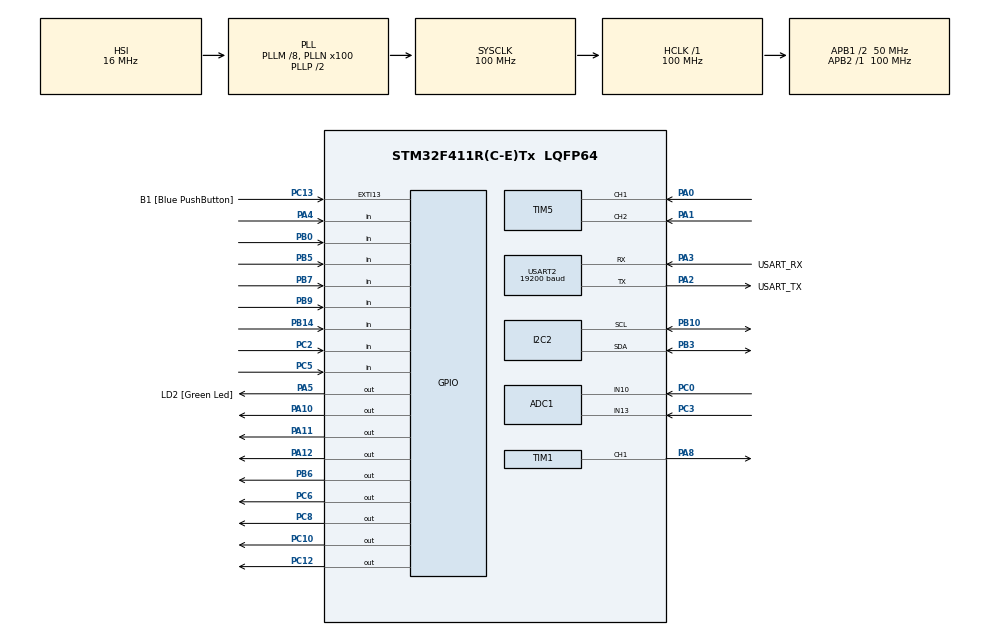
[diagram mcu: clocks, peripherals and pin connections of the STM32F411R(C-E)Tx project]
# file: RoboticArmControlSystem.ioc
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ADC1.Channel-0\#ChannelRegularConversion=ADC_CHANNEL_13
ADC1.Channel-1\#ChannelRegularConversion=ADC_CHANNEL_10
ADC1.ContinuousConvMode=ENABLE
ADC1.DMAContinuousRequests=ENABLE
ADC1.NbrOfConversion=2
ADC1.NbrOfConversionFlag=1
ADC1.Rank-0\#ChannelRegularConversion=1
ADC1.Rank-1\#ChannelRegularConversion=2
ADC1.SamplingTime-0\#ChannelRegularConversion=ADC_SAMPLETIME_56CYCLES
ADC1.SamplingTime-1\#ChannelRegularConversion=ADC_SAMPLETIME_56CYCLES
ADC1.master=1
Dma.ADC1.0.Direction=DMA_PERIPH_TO_MEMORY
Dma.ADC1.0.FIFOMode=DMA_FIFOMODE_DISABLE
Dma.ADC1.0.Instance=DMA2_Stream0
Dma.ADC1.0.MemDataAlignment=DMA_MDATAALIGN_HALFWORD
Dma.ADC1.0.MemInc=DMA_MINC_ENABLE
Dma.ADC1.0.Mode=DMA_CIRCULAR
Dma.ADC1.0.PeriphDataAlignment=DMA_PDATAALIGN_HALFWORD
Dma.ADC1.0.PeriphInc=DMA_PINC_DISABLE
Dma.ADC1.0.Priority=DMA_PRIORITY_LOW
Dma.Request0=ADC1
Dma.Request1=USART2_TX
Dma.USART2_TX.1.Direction=DMA_MEMORY_TO_PERIPH
Dma.USART2_TX.1.FIFOMode=DMA_FIFOMODE_DISABLE
Dma.USART2_TX.1.Instance=DMA1_Stream6
Dma.USART2_TX.1.MemDataAlignment=DMA_MDATAALIGN_BYTE
Dma.USART2_TX.1.MemInc=DMA_MINC_ENABLE
Dma.USART2_TX.1.Mode=DMA_NORMAL
Dma.USART2_TX.1.PeriphDataAlignment=DMA_PDATAALIGN_BYTE
Dma.USART2_TX.1.PeriphInc=DMA_PINC_DISABLE
Dma.USART2_TX.1.Priority=DMA_PRIORITY_LOW
Mcu.Family=STM32F4
Mcu.Name=STM32F411R(C-E)Tx
Mcu.Package=LQFP64
NVIC.DMA1_Stream6_IRQn=true\:0\:0\:false\:false\:true\:false\:true\:true
NVIC.DMA2_Stream0_IRQn=true\:0\:0\:false\:false\:true\:false\:true\:true
NVIC.I2C2_ER_IRQn=true\:0\:0\:false\:false\:true\:true\:true\:true
NVIC.I2C2_EV_IRQn=true\:0\:0\:false\:false\:true\:true\:true\:true
NVIC.PriorityGroup=NVIC_PRIORITYGROUP_0
NVIC.TIM1_TRG_COM_TIM11_IRQn=true\:0\:0\:false\:false\:true\:true\:true\:true
NVIC.TIM2_IRQn=true\:0\:0\:false\:false\:true\:true\:true\:true
NVIC.TIM3_IRQn=true\:0\:0\:false\:false\:true\:true\:true\:true
NVIC.USART2_IRQn=true\:0\:0\:false\:false\:true\:true\:true\:true
PA0-WKUP.GPIO_PuPd=GPIO_PULLUP
PA0-WKUP.Signal=S_TIM5_CH1
PA1.GPIO_PuPd=GPIO_PULLUP
PA1.Signal=S_TIM5_CH2
PA10.Signal=GPIO_Output
PA11.Signal=GPIO_Output
PA12.Signal=GPIO_Output
PA13.GPIO_Label=TMS
PA13.Mode=Serial_Wire
PA13.Signal=SYS_JTMS-SWDIO
PA14.GPIO_Label=TCK
PA14.Mode=Serial_Wire
PA14.Signal=SYS_JTCK-SWCLK
PA2.GPIO_Label=USART_TX
PA2.Mode=Asynchronous
PA2.Signal=USART2_TX
PA3.GPIO_Label=USART_RX
PA3.Mode=Asynchronous
PA3.Signal=USART2_RX
PA4.Signal=GPIO_Input
PA5.GPIO_Label=LD2 [Green Led]
PA5.Signal=GPIO_Output
PA8.Signal=S_TIM1_CH1
PB0.Signal=GPIO_Input
PB10.GPIO_Pu=GPIO_NOPULL
PB10.Mode=I2C
PB10.Signal=I2C2_SCL
PB14.GPIO_PuPd=GPIO_NOPULL
PB14.Signal=GPIO_Input
PB3.GPIO_Pu=GPIO_NOPULL
PB3.Mode=I2C
PB3.Signal=I2C2_SDA
PB5.GPIO_PuPd=GPIO_NOPULL
PB5.Signal=GPIO_Input
PB6.GPIO_ModeDefaultOutputPP=GPIO_MODE_OUTPUT_OD
PB6.GPIO_PuPd=GPIO_NOPULL
PB6.Signal=GPIO_Output
PB7.Signal=GPIO_Input
PB9.GPIO_PuPd=GPIO_NOPULL
PB9.Signal=GPIO_Input
PC0.Signal=ADCx_IN10
PC10.GPIO_ModeDefaultOutputPP=GPIO_MODE_OUTPUT_OD
PC10.GPIO_PuPd=GPIO_NOPULL
PC10.Signal=GPIO_Output
PC12.GPIO_ModeDefaultOutputPP=GPIO_MODE_OUTPUT_OD
PC12.GPIO_PuPd=GPIO_NOPULL
PC12.Signal=GPIO_Output
PC13-ANTI_TAMP.GPIO_Label=B1 [Blue PushButton]
PC13-ANTI_TAMP.GPIO_ModeDefaultEXTI=GPIO_MODE_IT_FALLING
PC13-ANTI_TAMP.Signal=GPXTI13
PC14-OSC32_IN.Mode=LSE-External-Oscillator
PC14-OSC32_IN.Signal=RCC_OSC32_IN
PC15-OSC32_OUT.Mode=LSE-External-Oscillator
PC15-OSC32_OUT.Signal=RCC_OSC32_OUT
PC2.Signal=GPIO_Input
PC3.Signal=ADCx_IN13
PC5.GPIO_PuPd=GPIO_PULLUP
PC5.Signal=GPIO_Input
PC6.Signal=GPIO_Output
PC8.Signal=GPIO_Output
PH0\ -\ OSC_IN.Mode=HSE-External-Clock-Source
PH0\ -\ OSC_IN.Signal=RCC_OSC_IN
PH1\ -\ OSC_OUT.Mode=HSE-External-Clock-Source
PH1\ -\ OSC_OUT.Signal=RCC_OSC_OUT
ProjectManager.HeapSize=0x200
ProjectManager.StackSize=0x400
ProjectManager.TargetToolchain=STM32CubeIDE
RCC.48MHZClocksFreq_Value=50000000
RCC.AHBFreq_Value=100000000
RCC.APB1CLKDivider=RCC_HCLK_DIV2
RCC.APB1Freq_Value=50000000
RCC.APB1TimFreq_Value=100000000
RCC.APB2Freq_Value=100000000
RCC.APB2TimFreq_Value=100000000
RCC.CortexFreq_Value=100000000
RCC.FLatency-AdvancedSettings=FLASH_LATENCY_3
RCC.HCLKFreq_Value=100000000
RCC.HSE_VALUE=8000000
RCC.HSI_VALUE=16000000
RCC.PLLM=8
RCC.PLLN=100
RCC.SYSCLKFreq_VALUE=100000000
RCC.SYSCLKSource=RCC_SYSCLKSOURCE_PLLCLK
RCC.VCOOutputFreq_Value=200000000
SH.ADCx_IN10.0=ADC1_IN10,IN10
SH.ADCx_IN13.0=ADC1_IN13,IN13
SH.S_TIM1_CH1.0=TIM1_CH1,PWM Generation1 CH1
SH.S_TIM5_CH1.0=TIM5_CH1,Encoder_Interface
SH.S_TIM5_CH2.0=TIM5_CH2,Encoder_Interface
TIM1.Channel-PWM\ Generation1\ CH1=TIM_CHANNEL_1
TIM1.Period=999
TIM1.Prescaler=99
TIM11.Channel=TIM_CHANNEL_1
TIM11.OCMode_1=TIM_OCMODE_ACTIVE
TIM11.Period=2005
TIM11.Prescaler=99
TIM11.Pulse=1433
TIM2.Period=9
TIM2.Prescaler=9999
TIM5.EncoderMode=TIM_ENCODERMODE_TI12
USART2.BaudRate=19200
USART2.Parity=PARITY_EVEN
USART2.VirtualMode=VM_ASYNC
USART2.WordLength=WORDLENGTH_9B
VP_TIM11_VS_ClockSourceINT.Mode=Enable_Timer
VP_TIM11_VS_OPM.Mode=OPM_bit
VP_TIM11_VS_no_output1.Mode=Output Compare1 No Output
VP_TIM2_VS_ClockSourceINT.Mode=Internal
VP_TIM3_VS_ClockSourceINT.Mode=Internal
board=NUCLEO-F411RE

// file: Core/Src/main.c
/* USER CODE BEGIN Header */
/**
 ******************************************************************************
 * @file           : main.c
 * @brief          : Main program body
 ******************************************************************************
 * @attention
 *
 * Copyright (c) 2023 STMicroelectronics.
 * All rights reserved.
 *
 * This software is licensed under terms that can be found in the LICENSE file
 * in the root directory of this software component.
 * If no LICENSE file comes with this software, it is provided AS-IS.
 *
 ******************************************************************************
 */
/* USER CODE END Header */
#include "main.h"

/* USER CODE BEGIN Includes */
#include "ModBusRTU.h"
#include <stdlib.h>
#include <math.h>
#include <string.h>

#define endEffector_ADDR 0x15
/* USER CODE END Includes */

ADC_HandleTypeDef hadc1;
DMA_HandleTypeDef hdma_adc1;

I2C_HandleTypeDef hi2c2;

TIM_HandleTypeDef htim1;
TIM_HandleTypeDef htim2;
TIM_HandleTypeDef htim3;
TIM_HandleTypeDef htim5;
TIM_HandleTypeDef htim11;

UART_HandleTypeDef huart2;
DMA_HandleTypeDef hdma_usart2_tx;

/* USER CODE BEGIN PV */
// > BASE SYSTEM -------------------------------------------------------------------------------------------------------
ModbusHandleTypedef hmodbus;
u16u8_t registerFrame[70];
// < BASE SYSTEM -------------------------------------------------------------------------------------------------------

// > Joy Stick -------------------------------------------------------------------------------------------------------
struct PortPin {
	GPIO_TypeDef *PORT;
	uint16_t PIN;
};

struct PortPin joyPin[4] = { { GPIOC, GPIO_PIN_2 }, // Button M
		{ GPIOA, GPIO_PIN_4 }, // Button R / P
		{ GPIOB, GPIO_PIN_0 }, // Button A / O
		{ GPIOB, GPIO_PIN_7 }, // Button L / D
		};

struct _GPIOState {
	GPIO_PinState Current;
	GPIO_PinState Last;
};

struct _GPIOState Button1[4];
typedef union {
	struct {
		uint16_t xAxis;
		uint16_t yAxis;
	} subdata;
} DMA_ADC_BufferType;
DMA_ADC_BufferType buffer[10];

float refXPos = 2000;
float refYPos = 2000;

uint8_t countBottomB = 0;
uint8_t countTopB = 0;
int8_t countRightB = 0;
uint8_t countLeftB = 0;

uint8_t switchAxis = 1;
uint8_t joyLogic = 0;
uint8_t joyLogicLED = 1;
// < Joy Stick -------------------------------------------------------------------------------------------------------

// > PILOT LAMP ------------------------------------------------------------------------------------------------------
struct PortPin pilotLampPin[3] = { { GPIOA, GPIO_PIN_10 },
		{ GPIOA, GPIO_PIN_11 }, { GPIOA, GPIO_PIN_12 }, };
// < PILOT LAMP ------------------------------------------------------------------------------------------------------

// > MOTOR -----------------------------------------------------------------------------------------------------------
float duty = 0;
uint8_t dirAxisY = 1;
uint8_t dirAxisX = 1;

// < MOTOR -----------------------------------------------------------------------------------------------------------

// > ENCODER ---------------------------------------------------------------------------------------------------------
int32_t QEIReadRaw;
int32_t QEIReadModified;
int32_t QEIHome;

// < ENCODER ---------------------------------------------------------------------------------------------------------

// > PID -------------------------------------------------------------------------------------------------------------
struct pidVariables {
	float pTerm;
	float iTerm;
	float dTerm;
	float eIntegral;
};

struct pidVariables positionPID = { 168, 1.84, 0, 0 }; // 60 / 80  ::: 220 / 122  // 10 / 25 ::: 168 / 1.84 ::: 135, 2.5,
struct pidVariables velocityPID = { 0, 0, 0, 0 };
float mmActPos = 0;
float mmTargetPos = 0;
float mmError = 0;
float mmActVel = 0;
float mmActAcc = 0;
float prePos = 0;
float preVel = 0;
float pidVel = 0;

float testVar = 0;
// < PID -------------------------------------------------------------------------------------------------------------

// > Calibrate -------------------------------------------------------------------------------------------------------
uint8_t calibrateTrayInput = 0;
// < Calibrate -------------------------------------------------------------------------------------------------------

// > SENSOR ----------------------------------------------------------------------------------------------------------
uint8_t photoSig[3];
// < SENSOR ----------------------------------------------------------------------------------------------------------

// > TRAJECTORY ------------------------------------------------------------------------------------------------------

typedef struct {
	float x;
	float y;
} Point;

Point objPickPos[9];
Point objPlacePos[9];

typedef struct {
	int16_t pos1;
	int16_t pos2;
	int16_t pos3;
	int16_t pos4;
	int16_t pos5;
	int16_t pos6;
} trayPos;

trayPos trayPickX = { .pos1 = 0, .pos2 = 0, .pos3 = 0 };
trayPos trayPickY = { .pos1 = 0, .pos2 = 0, .pos3 = 0 };

trayPos trayPlaceX = { .pos1 = 0, .pos2 = 0, .pos3 = 0 };
trayPos trayPlaceY = { .pos1 = 0, .pos2 = 0, .pos3 = 0 };

typedef struct {
	float posTraj;
	float velTraj;
	float accTraj;
	uint8_t reachTraj;
} calculationTraj;

float qddm = 2000; // 210*11.205 -> 2117.745 float qddm = 2000; // 210*11.205 -> 2117.745
float qdm = 2100; // 189*11.205 -> 2353.05 float qdm = 2100; // 189*11.205 -> 2353.05

float actualTime = 0.001;

float checkPos = 0;
float checkVel = 0;
float checkAcc = 0;
// < TRAJECTORY ------------------------------------------------------------------------------------------------------

// > HOME STATE ------------------------------------------------------------------------------------------------------
uint8_t myHomeState = 0;
uint8_t startSetHome = 1;
// < HOME STATE ------------------------------------------------------------------------------------------------------

// > TEST START M2 ---------------------------------------------------------------------------------------------------
uint8_t startTraj = 0; // TRACK 18 path (Only Position)
uint8_t startKalman = 0; // Lab Kalman
uint8_t startOnlyPosControl = 0; // Feedback From
uint8_t startCascadeControl = 0; // Feedback From Sensor
uint8_t startJoyStick = 0; // Start JoyStick
// > TEST START M2 ---------------------------------------------------------------------------------------------------

// > POINT MODE ------------------------------------------------------------------------------------------------------
uint8_t startPointModeY = 0;
int32_t initPosY;
// < POINT MODE ------------------------------------------------------------------------------------------------------

// > END EFFECTOR ----------------------------------------------------------------------------------------------------
uint8_t endEffectorWriteFlag = 0;
uint8_t endEffectorReadFlag = 0;
uint8_t endEffectorReadBack[1];
uint8_t selectMode;
uint8_t selectStatus;
uint8_t readStatus[1];

struct endE {
	uint8_t testMode;
	uint8_t emergencyMode;
	uint8_t gripperWork;
	uint8_t gripperPickAndPlace;
	uint8_t reset;
	uint8_t status;
};
struct endE endEffector = { 0, 1, 2, 3, 4, 5 };
uint8_t endEffectorDataScan[2] = { 0, 0 };
uint8_t robotArmStateDataScan[2] = { 0, 0 };
uint8_t endEffectorState = 0;
// < END EFFECTOR ----------------------------------------------------------------------------------------------------

// WRITING ...

uint8_t startRunTray = 0;
uint8_t pathComplete = 0;
uint8_t pickComplete = 0;
uint8_t placeComplete = 0;

uint8_t runTrayModeCase = 0;
uint8_t endEffectorPicking = 0;
uint8_t endEffectorPlacing = 0;

uint8_t testFlag = 0;
uint8_t testMode = 0;
uint8_t testStatus = 0;
uint8_t joyStart = 0;
uint8_t nextPath = 0;

uint8_t passInit = 0;

uint8_t checkGoPick = 0;
uint8_t PIDCase = 0;

uint8_t x[4] = { 0, 0, 0, 0 };
uint8_t x2 = 0;

float finalPIDChecky = 0;
uint8_t myJoyState = 30;

uint8_t goPick = 1;
uint8_t goPlace = 1;

uint8_t endEffectorStatusStep = 0;

uint8_t endEmergency = 0;

float myActPos;
float myPrePos = 0;
float myActVel;
float myPreVel = 0;
float myActAcc;

int16_t checkTarget;

uint8_t endStateCheck = 0;
uint8_t endEffectorStatusControlState = 0;

uint16_t endTime = 0;
uint8_t endTimeStatus = 0;

uint16_t endTime2 = 0;
uint8_t endTimeStatus2 = 0;

uint16_t endTime3 = 0;
uint8_t endTimeStatus3 = 0;

uint8_t endResetFlag = 1;

uint8_t flagControlPI = 1;

uint8_t flag=0;
uint8_t mode;
uint8_t status;

/* USER CODE END PV */

void SystemClock_Config(void);
static void MX_GPIO_Init(void);
static void MX_DMA_Init(void);
static void MX_USART2_UART_Init(void);
static void MX_TIM1_Init(void);
static void MX_TIM5_Init(void);
static void MX_TIM2_Init(void);
static void MX_ADC1_Init(void);
static void MX_TIM3_Init(void);
static void MX_TIM11_Init(void);
static void MX_I2C2_Init(void);
/* USER CODE BEGIN PFP */
void readEncoder();
void setMotor();
void cascadePIDControl();
float positionLoop(float targetPos);
void velocityLoop(float targetVel, float velFromPID);

void buttonInput();
void buttonLogic(uint16_t state);
void photoDetect();
calculationTraj trapezoidalTraj(float initPos, float targetPos);
float kalmanFilter(float y);
void calibrateTrayTest();

void setHome();
void onlyPositionControl(float initPos, float targetPos);
void robotArmState(uint16_t state);

void calibrateTray(trayPos trayX, trayPos trayY, Point *objPos);
// Point rotatePoint(float p1, float p2, float centerX, float centerY, float angle);
Point rotatePoint(int16_t p1, int16_t p2, int16_t centerX, int16_t centerY,
		float radians);
void jogAxisY();
void jogAxisX();

void joyDisplayLED();

void kalmanLap();

void handleEmergency();
void pilotLamp(uint8_t id, uint8_t status);

void endEffectorStatusControl(uint16_t regisFrame);
void endEffectorControl(uint8_t mode, uint8_t status);

void runTrayMode();

void endEffectorPick();
void endEffectorPlace();

void handleJogAxisY(uint8_t jogStateY);

void onlyPositionControlPointMode(float initPos, float targetPos);
/* USER CODE END PFP */

int main(void)
{

  /* MCU Configuration--------------------------------------------------------*/

  /* Reset of all peripherals, Initializes the Flash interface and the Systick. */
  HAL_Init();

  /* Configure the system clock */
  SystemClock_Config();

  /* Initialize all configured peripherals */
  MX_GPIO_Init();
  MX_DMA_Init();
  MX_USART2_UART_Init();
  MX_TIM1_Init();
  MX_TIM5_Init();
  MX_TIM2_Init();
  MX_ADC1_Init();
  MX_TIM3_Init();
  MX_TIM11_Init();
  MX_I2C2_Init();
  /* USER CODE BEGIN 2 */
	HAL_TIM_Encoder_Start(&htim5, TIM_CHANNEL_1 | TIM_CHANNEL_2);

	HAL_TIM_Base_Start(&htim1);
	HAL_TIM_PWM_Start(&htim1, TIM_CHANNEL_1);

	HAL_TIM_Base_Start_IT(&htim2);

	HAL_ADC_Start_DMA(&hadc1, (uint16_t*) buffer, 20);

	hmodbus.huart = &huart2;
	hmodbus.htim = &htim11;
	hmodbus.slaveAddress = 0x15;
	hmodbus.RegisterSize = 70; // 70
	Modbus_init(&hmodbus, registerFrame);

	endEffectorControl(endEffector.reset, 1);
  /* USER CODE END 2 */

  /* Infinite loop */
	while (1) {

    /* USER CODE BEGIN 3 */
		Modbus_Protocal_Worker();
		static uint32_t timestamp = 0;

		if (HAL_GetTick() >= timestamp) {
			timestamp = HAL_GetTick() + 100;

			int16_t sentPos = (int16_t) (mmActPos * 10);
			int16_t sentVel = (int16_t) (mmActVel * 10);
			int16_t sentAcc = (int16_t) (mmActAcc * 10);
			registerFrame[0].U16 = 22881; // WRITE : Heartbeat Protocol
			registerFrame[17].U16 = sentPos; // WRITE : y-axis Actual Position
			registerFrame[18].U16 = sentVel; // WRITE : y-axis Actual Speed
			registerFrame[19].U16 = sentAcc; // WRITE : y-axis Actual Acceleration

			mmActPos = QEIReadModified * (2 * 3.14159 * 11.205 / 8192); // NO THIS FUNCTION WHEN TEST WITH ONLY Y-AXIS

			myActPos = QEIReadModified * (2 * 3.14159 * 11.205 / 8192);
			myActVel = (mmActPos - myPrePos) / 0.1;
			myActAcc = (mmActVel - myPreVel) / 0.1;

			//
			myPrePos = myActPos;
			myPreVel = myActVel;

			//
			handleEmergency();

//			if (runTrayModeCase == 4) {
//				runTrayModeCase = 6;
//			} else if (runTrayModeCase == 1) {
//				runTrayModeCase = 3;
//			}

			if (x[0] && x2) {
				endEffectorPick();

			} else if (x[1] && x2) {
				endEffectorPlace();
			}

			endEffectorDataScan[1] = registerFrame[2].U16;
			if ((endEffectorDataScan[1] != endEffectorDataScan[0]
					|| endStateCheck == 1) && x2 == 0) {
				endEffectorStatusControl(registerFrame[2].U16);
				endEffectorDataScan[0] = endEffectorDataScan[1];

			}

			joyDisplayLED();

			if (joyStart) {

				buttonInput(); // DETECT : Button Input
				buttonLogic(joyLogic);
			}
			//
			if (endTimeStatus) {
				endTime += 1;
			}
			if (endTimeStatus2) {
				endTime2 += 1;
			}
			if (endTimeStatus3) {
				endTime3 += 1;
			}

			if(flag){
				flag=0;
				endEffectorControl(mode, status);
			}

		}

	}
  /* USER CODE END 3 */
}

void SystemClock_Config(void)
{
  RCC_OscInitTypeDef RCC_OscInitStruct = {0};
  RCC_ClkInitTypeDef RCC_ClkInitStruct = {0};

  /** Configure the main internal regulator output voltage
  */
  __HAL_RCC_PWR_CLK_ENABLE();
  __HAL_PWR_VOLTAGESCALING_CONFIG(PWR_REGULATOR_VOLTAGE_SCALE1);

  /** Initializes the RCC Oscillators according to the specified parameters
  * in the RCC_OscInitTypeDef structure.
  */
  RCC_OscInitStruct.OscillatorType = RCC_OSCILLATORTYPE_HSI;
  RCC_OscInitStruct.HSIState = RCC_HSI_ON;
  RCC_OscInitStruct.HSICalibrationValue = RCC_HSICALIBRATION_DEFAULT;
  RCC_OscInitStruct.PLL.PLLState = RCC_PLL_ON;
  RCC_OscInitStruct.PLL.PLLSource = RCC_PLLSOURCE_HSI;
  RCC_OscInitStruct.PLL.PLLM = 8;
  RCC_OscInitStruct.PLL.PLLN = 100;
  RCC_OscInitStruct.PLL.PLLP = RCC_PLLP_DIV2;
  RCC_OscInitStruct.PLL.PLLQ = 4;
  if (HAL_RCC_OscConfig(&RCC_OscInitStruct) != HAL_OK)
  {
    Error_Handler();
  }

  /** Initializes the CPU, AHB and APB buses clocks
  */
  RCC_ClkInitStruct.ClockType = RCC_CLOCKTYPE_HCLK|RCC_CLOCKTYPE_SYSCLK
                              |RCC_CLOCKTYPE_PCLK1|RCC_CLOCKTYPE_PCLK2;
  RCC_ClkInitStruct.SYSCLKSource = RCC_SYSCLKSOURCE_PLLCLK;
  RCC_ClkInitStruct.AHBCLKDivider = RCC_SYSCLK_DIV1;
  RCC_ClkInitStruct.APB1CLKDivider = RCC_HCLK_DIV2;
  RCC_ClkInitStruct.APB2CLKDivider = RCC_HCLK_DIV1;

  if (HAL_RCC_ClockConfig(&RCC_ClkInitStruct, FLASH_LATENCY_3) != HAL_OK)
  {
    Error_Handler();
  }
}

static void MX_ADC1_Init(void)
{

  ADC_ChannelConfTypeDef sConfig = {0};

  /** Configure the global features of the ADC (Clock, Resolution, Data Alignment and number of conversion)
  */
  hadc1.Instance = ADC1;
  hadc1.Init.ClockPrescaler = ADC_CLOCK_SYNC_PCLK_DIV4;
  hadc1.Init.Resolution = ADC_RESOLUTION_12B;
  hadc1.Init.ScanConvMode = ENABLE;
  hadc1.Init.ContinuousConvMode = ENABLE;
  hadc1.Init.DiscontinuousConvMode = DISABLE;
  hadc1.Init.ExternalTrigConvEdge = ADC_EXTERNALTRIGCONVEDGE_NONE;
  hadc1.Init.ExternalTrigConv = ADC_SOFTWARE_START;
  hadc1.Init.DataAlign = ADC_DATAALIGN_RIGHT;
  hadc1.Init.NbrOfConversion = 2;
  hadc1.Init.DMAContinuousRequests = ENABLE;
  hadc1.Init.EOCSelection = ADC_EOC_SINGLE_CONV;
  if (HAL_ADC_Init(&hadc1) != HAL_OK)
  {
    Error_Handler();
  }

  /** Configure for the selected ADC regular channel its corresponding rank in the sequencer and its sample time.
  */
  sConfig.Channel = ADC_CHANNEL_13;
  sConfig.Rank = 1;
  sConfig.SamplingTime = ADC_SAMPLETIME_56CYCLES;
  if (HAL_ADC_ConfigChannel(&hadc1, &sConfig) != HAL_OK)
  {
    Error_Handler();
  }

  /** Configure for the selected ADC regular channel its corresponding rank in the sequencer and its sample time.
  */
  sConfig.Channel = ADC_CHANNEL_10;
  sConfig.Rank = 2;
  if (HAL_ADC_ConfigChannel(&hadc1, &sConfig) != HAL_OK)
  {
    Error_Handler();
  }

}

static void MX_I2C2_Init(void)
{

  hi2c2.Instance = I2C2;
  hi2c2.Init.ClockSpeed = 100000;
  hi2c2.Init.DutyCycle = I2C_DUTYCYCLE_2;
  hi2c2.Init.OwnAddress1 = 0;
  hi2c2.Init.AddressingMode = I2C_ADDRESSINGMODE_7BIT;
  hi2c2.Init.DualAddressMode = I2C_DUALADDRESS_DISABLE;
  hi2c2.Init.OwnAddress2 = 0;
  hi2c2.Init.GeneralCallMode = I2C_GENERALCALL_DISABLE;
  hi2c2.Init.NoStretchMode = I2C_NOSTRETCH_DISABLE;
  if (HAL_I2C_Init(&hi2c2) != HAL_OK)
  {
    Error_Handler();
  }

}

static void MX_TIM1_Init(void)
{

  TIM_MasterConfigTypeDef sMasterConfig = {0};
  TIM_OC_InitTypeDef sConfigOC = {0};
  TIM_BreakDeadTimeConfigTypeDef sBreakDeadTimeConfig = {0};

  htim1.Instance = TIM1;
  htim1.Init.Prescaler = 99;
  htim1.Init.CounterMode = TIM_COUNTERMODE_UP;
  htim1.Init.Period = 999;
  htim1.Init.ClockDivision = TIM_CLOCKDIVISION_DIV1;
  htim1.Init.RepetitionCounter = 0;
  htim1.Init.AutoReloadPreload = TIM_AUTORELOAD_PRELOAD_DISABLE;
  if (HAL_TIM_PWM_Init(&htim1) != HAL_OK)
  {
    Error_Handler();
  }
  sMasterConfig.MasterOutputTrigger = TIM_TRGO_RESET;
  sMasterConfig.MasterSlaveMode = TIM_MASTERSLAVEMODE_DISABLE;
  if (HAL_TIMEx_MasterConfigSynchronization(&htim1, &sMasterConfig) != HAL_OK)
  {
    Error_Handler();
  }
  sConfigOC.OCMode = TIM_OCMODE_PWM1;
  sConfigOC.Pulse = 0;
  sConfigOC.OCPolarity = TIM_OCPOLARITY_HIGH;
  sConfigOC.OCNPolarity = TIM_OCNPOLARITY_HIGH;
  sConfigOC.OCFastMode = TIM_OCFAST_DISABLE;
  sConfigOC.OCIdleState = TIM_OCIDLESTATE_RESET;
  sConfigOC.OCNIdleState = TIM_OCNIDLESTATE_RESET;
  if (HAL_TIM_PWM_ConfigChannel(&htim1, &sConfigOC, TIM_CHANNEL_1) != HAL_OK)
  {
    Error_Handler();
  }
  sBreakDeadTimeConfig.OffStateRunMode = TIM_OSSR_DISABLE;
  sBreakDeadTimeConfig.OffStateIDLEMode = TIM_OSSI_DISABLE;
  sBreakDeadTimeConfig.LockLevel = TIM_LOCKLEVEL_OFF;
  sBreakDeadTimeConfig.DeadTime = 0;
  sBreakDeadTimeConfig.BreakState = TIM_BREAK_DISABLE;
  sBreakDeadTimeConfig.BreakPolarity = TIM_BREAKPOLARITY_HIGH;
  sBreakDeadTimeConfig.AutomaticOutput = TIM_AUTOMATICOUTPUT_DISABLE;
  if (HAL_TIMEx_ConfigBreakDeadTime(&htim1, &sBreakDeadTimeConfig) != HAL_OK)
  {
    Error_Handler();
  }
  HAL_TIM_MspPostInit(&htim1);

}

static void MX_TIM2_Init(void)
{

  TIM_ClockConfigTypeDef sClockSourceConfig = {0};
  TIM_MasterConfigTypeDef sMasterConfig = {0};

  htim2.Instance = TIM2;
  htim2.Init.Prescaler = 9999;
  htim2.Init.CounterMode = TIM_COUNTERMODE_UP;
  htim2.Init.Period = 9;
  htim2.Init.ClockDivision = TIM_CLOCKDIVISION_DIV1;
  htim2.Init.AutoReloadPreload = TIM_AUTORELOAD_PRELOAD_DISABLE;
  if (HAL_TIM_Base_Init(&htim2) != HAL_OK)
  {
    Error_Handler();
  }
  sClockSourceConfig.ClockSource = TIM_CLOCKSOURCE_INTERNAL;
  if (HAL_TIM_ConfigClockSource(&htim2, &sClockSourceConfig) != HAL_OK)
  {
    Error_Handler();
  }
  sMasterConfig.MasterOutputTrigger = TIM_TRGO_RESET;
  sMasterConfig.MasterSlaveMode = TIM_MASTERSLAVEMODE_DISABLE;
  if (HAL_TIMEx_MasterConfigSynchronization(&htim2, &sMasterConfig) != HAL_OK)
  {
    Error_Handler();
  }

}

static void MX_TIM3_Init(void)
{

  TIM_ClockConfigTypeDef sClockSourceConfig = {0};
  TIM_MasterConfigTypeDef sMasterConfig = {0};

  htim3.Instance = TIM3;
  htim3.Init.Prescaler = 0;
  htim3.Init.CounterMode = TIM_COUNTERMODE_UP;
  htim3.Init.Period = 65535;
  htim3.Init.ClockDivision = TIM_CLOCKDIVISION_DIV1;
  htim3.Init.AutoReloadPreload = TIM_AUTORELOAD_PRELOAD_DISABLE;
  if (HAL_TIM_Base_Init(&htim3) != HAL_OK)
  {
    Error_Handler();
  }
  sClockSourceConfig.ClockSource = TIM_CLOCKSOURCE_INTERNAL;
  if (HAL_TIM_ConfigClockSource(&htim3, &sClockSourceConfig) != HAL_OK)
  {
    Error_Handler();
  }
  sMasterConfig.MasterOutputTrigger = TIM_TRGO_RESET;
  sMasterConfig.MasterSlaveMode = TIM_MASTERSLAVEMODE_DISABLE;
  if (HAL_TIMEx_MasterConfigSynchronization(&htim3, &sMasterConfig) != HAL_OK)
  {
    Error_Handler();
  }

}

static void MX_TIM5_Init(void)
{

  TIM_Encoder_InitTypeDef sConfig = {0};
  TIM_MasterConfigTypeDef sMasterConfig = {0};

  htim5.Instance = TIM5;
  htim5.Init.Prescaler = 0;
  htim5.Init.CounterMode = TIM_COUNTERMODE_UP;
  htim5.Init.Period = 4294967295;
  htim5.Init.ClockDivision = TIM_CLOCKDIVISION_DIV1;
  htim5.Init.AutoReloadPreload = TIM_AUTORELOAD_PRELOAD_DISABLE;
  sConfig.EncoderMode = TIM_ENCODERMODE_TI12;
  sConfig.IC1Polarity = TIM_ICPOLARITY_RISING;
  sConfig.IC1Selection = TIM_ICSELECTION_DIRECTTI;
  sConfig.IC1Prescaler = TIM_ICPSC_DIV1;
  sConfig.IC1Filter = 0;
  sConfig.IC2Polarity = TIM_ICPOLARITY_RISING;
  sConfig.IC2Selection = TIM_ICSELECTION_DIRECTTI;
  sConfig.IC2Prescaler = TIM_ICPSC_DIV1;
  sConfig.IC2Filter = 0;
  if (HAL_TIM_Encoder_Init(&htim5, &sConfig) != HAL_OK)
  {
    Error_Handler();
  }
  sMasterConfig.MasterOutputTrigger = TIM_TRGO_RESET;
  sMasterConfig.MasterSlaveMode = TIM_MASTERSLAVEMODE_DISABLE;
  if (HAL_TIMEx_MasterConfigSynchronization(&htim5, &sMasterConfig) != HAL_OK)
  {
    Error_Handler();
  }

}

static void MX_TIM11_Init(void)
{

  TIM_OC_InitTypeDef sConfigOC = {0};

  htim11.Instance = TIM11;
  htim11.Init.Prescaler = 99;
  htim11.Init.CounterMode = TIM_COUNTERMODE_UP;
  htim11.Init.Period = 2005;
  htim11.Init.ClockDivision = TIM_CLOCKDIVISION_DIV1;
  htim11.Init.AutoReloadPreload = TIM_AUTORELOAD_PRELOAD_DISABLE;
  if (HAL_TIM_Base_Init(&htim11) != HAL_OK)
  {
    Error_Handler();
  }
  if (HAL_TIM_OC_Init(&htim11) != HAL_OK)
  {
    Error_Handler();
  }
  if (HAL_TIM_OnePulse_Init(&htim11, TIM_OPMODE_SINGLE) != HAL_OK)
  {
    Error_Handler();
  }
  sConfigOC.OCMode = TIM_OCMODE_ACTIVE;
  sConfigOC.Pulse = 1433;
  sConfigOC.OCPolarity = TIM_OCPOLARITY_HIGH;
  sConfigOC.OCFastMode = TIM_OCFAST_DISABLE;
  if (HAL_TIM_OC_ConfigChannel(&htim11, &sConfigOC, TIM_CHANNEL_1) != HAL_OK)
  {
    Error_Handler();
  }

}

static void MX_USART2_UART_Init(void)
{

  huart2.Instance = USART2;
  huart2.Init.BaudRate = 19200;
  huart2.Init.WordLength = UART_WORDLENGTH_9B;
  huart2.Init.StopBits = UART_STOPBITS_1;
  huart2.Init.Parity = UART_PARITY_EVEN;
  huart2.Init.Mode = UART_MODE_TX_RX;
  huart2.Init.HwFlowCtl = UART_HWCONTROL_NONE;
  huart2.Init.OverSampling = UART_OVERSAMPLING_16;
  if (HAL_UART_Init(&huart2) != HAL_OK)
  {
    Error_Handler();
  }

}

static void MX_DMA_Init(void)
{

  /* DMA controller clock enable */
  __HAL_RCC_DMA2_CLK_ENABLE();
  __HAL_RCC_DMA1_CLK_ENABLE();

  /* DMA interrupt init */
  /* DMA1_Stream6_IRQn interrupt configuration */
  HAL_NVIC_SetPriority(DMA1_Stream6_IRQn, 0, 0);
  HAL_NVIC_EnableIRQ(DMA1_Stream6_IRQn);
  /* DMA2_Stream0_IRQn interrupt configuration */
  HAL_NVIC_SetPriority(DMA2_Stream0_IRQn, 0, 0);
  HAL_NVIC_EnableIRQ(DMA2_Stream0_IRQn);

}

static void MX_GPIO_Init(void)
{
  GPIO_InitTypeDef GPIO_InitStruct = {0};

  /* GPIO Ports Clock Enable */
  __HAL_RCC_GPIOC_CLK_ENABLE();
  __HAL_RCC_GPIOH_CLK_ENABLE();
  __HAL_RCC_GPIOA_CLK_ENABLE();
  __HAL_RCC_GPIOB_CLK_ENABLE();

  /*Configure GPIO pin Output Level */
  HAL_GPIO_WritePin(GPIOA, LD2_Pin|GPIO_PIN_10|GPIO_PIN_11|GPIO_PIN_12, GPIO_PIN_RESET);

  /*Configure GPIO pin Output Level */
  HAL_GPIO_WritePin(GPIOC, GPIO_PIN_6|GPIO_PIN_8|GPIO_PIN_10|GPIO_PIN_12, GPIO_PIN_RESET);

  /*Configure GPIO pin Output Level */
  HAL_GPIO_WritePin(GPIOB, GPIO_PIN_6, GPIO_PIN_RESET);

  /*Configure GPIO pin : B1_Pin */
  GPIO_InitStruct.Pin = B1_Pin;
  GPIO_InitStruct.Mode = GPIO_MODE_IT_FALLING;
  GPIO_InitStruct.Pull = GPIO_NOPULL;
  HAL_GPIO_Init(B1_GPIO_Port, &GPIO_InitStruct);

  /*Configure GPIO pin : PC2 */
  GPIO_InitStruct.Pin = GPIO_PIN_2;
  GPIO_InitStruct.Mode = GPIO_MODE_INPUT;
  GPIO_InitStruct.Pull = GPIO_NOPULL;
  HAL_GPIO_Init(GPIOC, &GPIO_InitStruct);

  /*Configure GPIO pin : PA4 */
  GPIO_InitStruct.Pin = GPIO_PIN_4;
  GPIO_InitStruct.Mode = GPIO_MODE_INPUT;
  GPIO_InitStruct.Pull = GPIO_NOPULL;
  HAL_GPIO_Init(GPIOA, &GPIO_InitStruct);

  /*Configure GPIO pins : LD2_Pin PA10 PA11 PA12 */
  GPIO_InitStruct.Pin = LD2_Pin|GPIO_PIN_10|GPIO_PIN_11|GPIO_PIN_12;
  GPIO_InitStruct.Mode = GPIO_MODE_OUTPUT_PP;
  GPIO_InitStruct.Pull = GPIO_NOPULL;
  GPIO_InitStruct.Speed = GPIO_SPEED_FREQ_LOW;
  HAL_GPIO_Init(GPIOA, &GPIO_InitStruct);

  /*Configure GPIO pin : PC5 */
  GPIO_InitStruct.Pin = GPIO_PIN_5;
  GPIO_InitStruct.Mode = GPIO_MODE_INPUT;
  GPIO_InitStruct.Pull = GPIO_PULLUP;
  HAL_GPIO_Init(GPIOC, &GPIO_InitStruct);

  /*Configure GPIO pins : PB0 PB14 PB5 PB7
                           PB9 */
  GPIO_InitStruct.Pin = GPIO_PIN_0|GPIO_PIN_14|GPIO_PIN_5|GPIO_PIN_7
                          |GPIO_PIN_9;
  GPIO_InitStruct.Mode = GPIO_MODE_INPUT;
  GPIO_InitStruct.Pull = GPIO_NOPULL;
  HAL_GPIO_Init(GPIOB, &GPIO_InitStruct);

  /*Configure GPIO pins : PC6 PC8 */
  GPIO_InitStruct.Pin = GPIO_PIN_6|GPIO_PIN_8;
  GPIO_InitStruct.Mode = GPIO_MODE_OUTPUT_PP;
  GPIO_InitStruct.Pull = GPIO_NOPULL;
  GPIO_InitStruct.Speed = GPIO_SPEED_FREQ_LOW;
  HAL_GPIO_Init(GPIOC, &GPIO_InitStruct);

  /*Configure GPIO pins : PC10 PC12 */
  GPIO_InitStruct.Pin = GPIO_PIN_10|GPIO_PIN_12;
  GPIO_InitStruct.Mode = GPIO_MODE_OUTPUT_OD;
  GPIO_InitStruct.Pull = GPIO_NOPULL;
  GPIO_InitStruct.Speed = GPIO_SPEED_FREQ_LOW;
  HAL_GPIO_Init(GPIOC, &GPIO_InitStruct);

  /*Configure GPIO pin : PB6 */
  GPIO_InitStruct.Pin = GPIO_PIN_6;
  GPIO_InitStruct.Mode = GPIO_MODE_OUTPUT_OD;
  GPIO_InitStruct.Pull = GPIO_NOPULL;
  GPIO_InitStruct.Speed = GPIO_SPEED_FREQ_LOW;
  HAL_GPIO_Init(GPIOB, &GPIO_InitStruct);

}

/* USER CODE BEGIN 4 */
void HAL_TIM_PeriodElapsedCallback(TIM_HandleTypeDef *htim) {
	if (htim == &htim2 && x2 == 0) //
			{
		photoDetect();
		robotArmStateDataScan[1] = registerFrame[1].U16;
		if (robotArmStateDataScan[1] != robotArmStateDataScan[0]) {
			robotArmState(registerFrame[1].U16); // READ : Base System Status
			robotArmStateDataScan[0] = robotArmStateDataScan[1];
		}

		readEncoder();

		if (photoSig[0] || photoSig[2]) // SOFTWARE LIMIT : Motor/Encoder Photo Sensor
				{
			duty = 0;
			setMotor();
		}

		if (startSetHome) {
			// endEffectorControl(endEffector.gripperWork, 1);
			setHome();
		}

		if (startPointModeY) {
			int16_t targetPosPointMode = registerFrame[49].U16; // READ : Goal Point y
			checkTarget = targetPosPointMode / 10;
			onlyPositionControlPointMode(initPosY, targetPosPointMode / 10);
		}

		if (startRunTray) {
			if (endResetFlag) {
				endResetFlag = 0;
				endEffectorControl(endEffector.gripperWork, 1);
				//registerFrame[2].U16==0b0000000000000000;
			}
			runTrayMode();
		}

	}
}

void runTrayMode() {

	switch (runTrayModeCase) {
	// BEFORE START SET HOME FIRST
	case 0:
		setHome();
		break;
	case 1: // GO PICK

		if (goPick) {
			// X-Axis
			PIDCase = 0;
			registerFrame[65].U16 =
					(int16_t) ((objPickPos[pathComplete].x) * 10); // SET : x-axis Target Position
			registerFrame[66].U16 = 3000; // SET : x-axis Target Speed
			registerFrame[67].U16 = 1; // SET : x-axis Target Speed

			registerFrame[64].U16 = 0b0000000000000010; // RUN : x-axis Moving Status

			// Y-Axis
			passInit = 0;

			initPosY = QEIReadModified * (2 * 3.14159 * 11.205 / 8192);
		}

		if (registerFrame[64].U16 == 0) {
			registerFrame[64].U16 = 2;
			runTrayModeCase = 2;
		}

		// runTrayModeCase = 2; //// only Test Y-Axis

		goPick = 0;
		break;
	case 2:
		goPick = 1;
		onlyPositionControl(initPosY, objPickPos[pathComplete].y);
		break;
	case 3:
		// END EFFECTOR CONTROL
		checkGoPick = 5;
		//endEffectorControl(endEffector.gripperWork, 1);//<------------------------
		x2 = 1;
		x[0] = 1;
		break;
	case 4:  // GO PLACE

		if (goPlace) {
			// X-Axis
			PIDCase = 0;
			registerFrame[65].U16 = (int16_t) ((objPlacePos[pathComplete].x)
					* 10);  // SET : x-axis Target Position
			registerFrame[66].U16 = 3000; // SET : x-axis Target Speed
			registerFrame[67].U16 = 1; // SET : x-axis Target Speed

			registerFrame[64].U16 = 0b0000000000000010; // RUN : x-axis Moving Status

			// Y-Axis
			passInit = 0;

			initPosY = QEIReadModified * (2 * 3.14159 * 11.205 / 8192);
		}

		if (registerFrame[64].U16 == 0) {
			registerFrame[64].U16 = 2;
			runTrayModeCase = 5;
		}

		// runTrayModeCase = 5; // only test Y-Axis
		goPlace = 0;
		break;
	case 5:
		goPlace = 1;
		onlyPositionControl(initPosY, objPlacePos[pathComplete].y);
		break;
	case 6:
		//endEffectorControl(endEffector.gripperWork, 1);
		x2 = 1;
		x[1] = 1;

		break;
	}

}
void endEffectorPick() {

	switch (endEffectorState) {
	case 0:
//		endEffectorControl(endEffector.gripperPickAndPlace, 1); // PICK UP
		endTimeStatus = 1;
		endEffectorState = 2;
		break;
	case 2:
		if (endTime >= 40) {
//            endEffectorControl(endEffector.gripperWork, 0); // GRIPPER OFF
			//endEffectorState = 3;
			endTime = 0;
			endTimeStatus = 0;
			runTrayModeCase = 4;
			endEffectorState = 0;
			endEffectorPicking = 0;
			x[0] = 0;
			x2 = 0;
		}
		break;
	}

}
void endEffectorPlace() {
	switch (endEffectorState) {
	case 0:
//		endEffectorControl(endEffector.gripperPickAndPlace, 0); // PICK DOWN
		endTimeStatus = 1;
		endEffectorState = 2;
		break;
	case 2:
		if (endTime >= 40) {
//            endEffectorControl(endEffector.gripperWork, 0); // GRIPPER OFF
			//endEffectorState = 3;
			endTime = 0;
			endTimeStatus = 0;
			runTrayModeCase = 1;
			endEffectorState = 0;
			endEffectorPicking = 0;
			pathComplete += 1;
			x[1] = 0;
			x2 = 0;
			if (pathComplete == 9) { // PUT IN SWITCH CASE
				// setHome();
				pathComplete = 0;
				runTrayModeCase = 0;
			}
		}
		break;
	}
}
void setMotor() {
	if (dirAxisY) {
		HAL_GPIO_WritePin(GPIOC, GPIO_PIN_6, GPIO_PIN_SET);
	} else {
		HAL_GPIO_WritePin(GPIOC, GPIO_PIN_6, GPIO_PIN_RESET);
	}
	__HAL_TIM_SET_COMPARE(&htim1, TIM_CHANNEL_1, duty);
}

void readEncoder() {
	QEIReadRaw = __HAL_TIM_GET_COUNTER(&htim5);
	QEIReadModified = QEIReadRaw - QEIHome;
}

void setHome() {

	switch (myHomeState) {
	case 0:
		if (photoSig[0]) // Motor Photo Sensor
		{
			myHomeState = 1;
		} else // ANY Position
		{
			dirAxisY = 0;
			duty = 290;
			setMotor();
			myHomeState = 1;
		}
		break;
	case 1:
		if (photoSig[0]) // Motor Photo Sensor
		{
			dirAxisY = 1;
			duty = 300;
			setMotor();
		} else if (photoSig[1]) // Center Photo Sensor
		{
			myHomeState = 2;
		}
		break;
	case 2:
		duty = 0;
		setMotor();
		myHomeState = 3;
		break;
	case 3:
		QEIHome = QEIReadRaw;
		startSetHome = 0;
		myHomeState = 0;
		registerFrame[16].U16 = 0; // RESET : y-axis Moving Status
		mmActPos = 0;
		if (startRunTray) {
			runTrayModeCase = 1;
		}
		break;

	}

}

void cascadePIDControl() {
// calculationTraj result = trapezoidalTraj();
// velocityLoop(result.velTraj, positionLoop(result.posTraj));
}

float positionLoop(float targetPos) {

	mmActPos = QEIReadRaw * (2 * 3.14159 * 11.205 / 8192);
	mmActVel = (mmActPos - prePos) / 0.01;

	mmError = targetPos - mmActPos;
	positionPID.eIntegral = positionPID.eIntegral + (mmError * 0.01);
	pidVel = (positionPID.pTerm * mmError)
			+ (positionPID.iTerm * positionPID.eIntegral);
	return pidVel;

}

void velocityLoop(float targetVel, float velFromPID) {
	float velError = targetVel + velFromPID - mmActVel;
	duty = (velocityPID.pTerm * velError)
			+ (velocityPID.iTerm * velocityPID.eIntegral);
	if (duty < 0) {
		dirAxisY = 0;
		duty = (-1) * duty;
	} else {
		dirAxisY = 1;
	}
	if (duty > 1000) {
		duty = 1000;
	} else if (duty <= 120) {
		duty = 0;
	}
	prePos = mmActPos;
	setMotor();
}

void onlyPositionControl(float initPos, float targetPos) {
	calculationTraj result = trapezoidalTraj(initPos, targetPos);

	switch (PIDCase) {
	case 0:

		mmActPos = QEIReadModified * (2 * 3.14159 * 11.205 / 8192);
		mmActVel = (mmActPos - prePos) / 0.001;
		mmActAcc = (mmActVel - preVel) / 0.001;

		mmError = result.posTraj - mmActPos;
		positionPID.eIntegral = positionPID.eIntegral + (mmError * 0.001);
		duty = (positionPID.pTerm * mmError)
				+ (positionPID.iTerm * positionPID.eIntegral);
		if (duty < 0) {
			dirAxisY = 0;
			duty = (-1) * duty;
		} else {
			dirAxisY = 1;
		}
		if (duty > 1000) {
			duty = 1000;
		} else if (duty <= 290) {
			duty = 0;
		}

		setMotor();

		prePos = mmActPos;
		preVel = mmActVel;
		finalPIDChecky = result.velTraj;

		if (fabs(mmError) <= 1.5 && result.velTraj == 0.0 && passInit) {
			PIDCase = 1;
		}
		passInit = 1;
		break;
	case 1:
		if (runTrayModeCase == 2) {
			runTrayModeCase = 3;
			passInit = 0;
			PIDCase = 0;
			duty = 0;
			setMotor();

		} else if (runTrayModeCase == 5) {
			runTrayModeCase = 6;
			passInit = 0;
			PIDCase = 0;
			duty = 0;
			setMotor();

		}
		break;
	}

}

void onlyPositionControlPointMode(float initPos, float targetPos) {
	calculationTraj result = trapezoidalTraj(initPos, targetPos);

	mmActPos = QEIReadModified * (2 * 3.14159 * 11.205 / 8192);
	mmActVel = (mmActPos - prePos) / 0.001;
	mmActAcc = (mmActVel - preVel) / 0.001;

	mmError = result.posTraj - mmActPos;
	positionPID.eIntegral = positionPID.eIntegral + (mmError * 0.001);
	duty = (positionPID.pTerm * mmError)
			+ (positionPID.iTerm * positionPID.eIntegral);
//	if (fabs(mmError) <= 2.5 && result.velTraj == 0.0) {
//		flagControlPI = 1;
//	}
//
//	if (endEmergency == 0 && flagControlPI) {
//		duty = (positionPID.pTerm * mmError)
//				+ (positionPID.iTerm * positionPID.eIntegral);
//	} else {
//		flagControlPI = 0;
//		duty = (positionPID.pTerm * mmError);
//	}

	if (duty < 0) {
		dirAxisY = 0;
		duty = (-1) * duty;
	} else {
		dirAxisY = 1;
	}
	if (duty > 1000) {
		duty = 1000;
	} else if (duty <= 290) {
		duty = 0;
	}

	setMotor();

	prePos = mmActPos;
	preVel = mmActVel;
	finalPIDChecky = result.posTraj;

}
void jogAxisY() {
	refYPos = buffer[0].subdata.yAxis;
	if (refYPos > 2500) {
		dirAxisY = 1;
	} else if (refYPos < 1500) {
		dirAxisY = 0;
	}
	if (refYPos > 3600 || refYPos < 100) {
		duty = 280;
	} else if (refYPos > 2500 && refYPos <= 3600) {
		duty = 250;
	}

	else if (refYPos > 100 && refYPos <= 1500) {
		duty = 280;
	} else {
		duty = 0;
	}
	setMotor();

}
//
//void handleJogAxisY(uint8_t jogStateY)
//{
//	switch (jogStateY % 3)
//	{
//	case 0:
//		jogAxisY1();
//		break;
//	case 1:
//		jogAxisY2();
//		break;
//	case 2:
//		jogAxisY3();
//		break;
//	}
//}
//

//void jogAxisY1() {
//	refYPos = buffer[0].subdata.yAxis;
//	if (refYPos > 2500) {
//		dirAxisY = 1;
//	} else if (refYPos < 1500) {
//		dirAxisY = 0;
//	}
//	if (refYPos > 3600 || refYPos < 100) {
//		duty = 500;
//	} else if (refYPos > 2500 && refYPos <= 3600) {
//		duty = 400;
//	}
//
//	else if (refYPos > 100 && refYPos <= 1500) {
//		duty = 200;
//	} else {
//		duty = 0;
//	}
//	setMotor();
//
//}
//void jogAxisY2() {
//	refYPos = buffer[0].subdata.yAxis;
//	if (refYPos > 2500) {
//		dirAxisY = 1;
//	} else if (refYPos < 1500) {
//		dirAxisY = 0;
//	}
//	if (refYPos > 3600 || refYPos < 100) {
//		duty = 900;
//	} else if (refYPos > 2500 && refYPos <= 3600) {
//		duty = 700;
//	}
//
//	else if (refYPos > 100 && refYPos <= 1500) {
//		duty = 500;
//	} else {
//		duty = 0;
//	}
//	setMotor();
//
//}
//void jogAxisY3() {
//	refYPos = buffer[0].subdata.yAxis;
//	if (refYPos > 2500) {
//		dirAxisY = 1;
//	} else if (refYPos < 1500) {
//		dirAxisY = 0;
//	}
//	if (refYPos > 3600 || refYPos < 100) {
//		duty = 380;
//	} else if (refYPos > 2500 && refYPos <= 3600) {
//		duty = 140;
//	}
//
//	else if (refYPos > 100 && refYPos <= 1500) {
//		duty = 200;
//	} else {
//		duty = 0;
//	}
//	setMotor();
//
//}

void photoDetect() {
	photoSig[0] = HAL_GPIO_ReadPin(GPIOB, GPIO_PIN_5);  // MOTOR Photo Sensor
	photoSig[1] = HAL_GPIO_ReadPin(GPIOB, GPIO_PIN_14); // CENTER Photo Sensor
	photoSig[2] = HAL_GPIO_ReadPin(GPIOB, GPIO_PIN_9);  // ENCODER Photo Sensor
}

calculationTraj trapezoidalTraj(float qi, float qf) {
	calculationTraj result;

	float diffPos = abs(qf - qi);
	int8_t handleMinus = (qf - qi) / diffPos;
	float timeTrapSeg1 = qdm / qddm;
	float timeTriSeg1 = pow((diffPos / qddm), 0.5);

	if (timeTriSeg1 < timeTrapSeg1) // triangle shape
			{
		float qTriSeg1 = 0.5 * qddm * timeTriSeg1 * timeTriSeg1;
		float qdTriSeg1 = qddm * timeTriSeg1;
		if (actualTime <= timeTriSeg1) {
			result.posTraj = qi
					+ (0.5 * qddm * actualTime * actualTime) * handleMinus;
			result.velTraj = qddm * actualTime;
			result.accTraj = qddm;
		}

		else if (actualTime > timeTriSeg1 && actualTime <= (timeTriSeg1 * 2)) {
			float actualTimeSeg2 = actualTime - timeTriSeg1;
			result.posTraj = qi
					+ (qTriSeg1 + (qdTriSeg1 * actualTimeSeg2)
							- (0.5 * qddm * actualTimeSeg2 * actualTimeSeg2))
							* handleMinus;
			result.velTraj = qdTriSeg1 - (qddm * actualTimeSeg2);
			result.accTraj = -qddm;
		}

		else {
			result.posTraj = qf;
			result.velTraj = 0;
			result.accTraj = 0;
		}

	}

	else // trapezoidal shape
	{
		float timeTrapSeg2 = (diffPos
				- (2 * 0.5 * qddm * (timeTrapSeg1) * (timeTrapSeg1))) / qdm;
		float timeTrapSeg3 = qdm / qddm;
		float qTrapSeg1 = 0.5 * qddm * (timeTrapSeg1) * (timeTrapSeg1);
		float qTrapSeg2 = qTrapSeg1 + (qdm * timeTrapSeg2);

		if (actualTime <= timeTrapSeg1) {
			result.posTraj = qi
					+ (0.5 * qddm * actualTime * actualTime) * handleMinus;
			result.velTraj = qddm * actualTime;
			result.accTraj = qddm;
		} else if (actualTime > timeTrapSeg1
				&& actualTime <= timeTrapSeg2 + timeTrapSeg1) {
			float t2 = actualTime - timeTrapSeg1;
			result.posTraj = qi + (qTrapSeg1 + qdm * (t2)) * handleMinus;
			result.velTraj = qdm;
			result.accTraj = 0;
		} else if (actualTime > timeTrapSeg2 + timeTrapSeg1
				&& actualTime <= timeTrapSeg3 + timeTrapSeg2 + timeTrapSeg1) {
			float t3 = actualTime - timeTrapSeg2 - timeTrapSeg1;
			result.posTraj = qi
					+ (qTrapSeg2 + (qdm * t3) - 0.5 * qddm * t3 * t3)
							* handleMinus;
			result.velTraj = -qddm * t3 + qdm;
			result.accTraj = -qddm;
		} else {
			result.posTraj = qf;
			result.velTraj = 0;
			result.accTraj = 0;

		}

	}

	checkPos = result.posTraj;
	checkVel = result.velTraj;
	checkAcc = result.accTraj;

	actualTime += 0.001;

	// CHECK STATUS

	if (startPointModeY) 		// POINT MODE

	{

		if (result.posTraj == qf) {
			result.reachTraj = 1;
			actualTime = 0.001;
			startPointModeY = 0;
			initPosY = mmActPos;
			registerFrame[16].U16 = 0; // RESET : y-axis Moving Status
		} else {
			result.reachTraj = 0;
		}
	}

	if (startRunTray) {
		// RUN TRAY MODE

		if (result.posTraj == qf) {
			result.reachTraj = 1;
			actualTime = 0.001;
			initPosY = mmActPos;
			registerFrame[16].U16 = 0; // RESET : y-axis Moving Status // ---------
		}

		else {
			result.reachTraj = 0;
		}
	}

	return result;
}

void calibrateTray(trayPos trayX, trayPos trayY, Point *objPos) {
	float length1 = pow(
			pow(trayX.pos1 - trayX.pos2, 2) + pow(trayY.pos1 - trayY.pos2, 2),
			0.5);
	float length2 = pow(
			pow(trayX.pos2 - trayX.pos3, 2) + pow(trayY.pos2 - trayY.pos3, 2),
			0.5);
	uint8_t k = 50;
	if (length1 > length2) {
		k = 60;
	}

	float length3 = trayY.pos1 - trayY.pos2;
	float radians;
	if ((length3 / k) >= 1) {
		radians = 0;
	} else {
		radians = acos(length3 / k);
	}

	float TrayOriginX = trayX.pos2;
	float TrayOriginY = trayY.pos2;
	int16_t writeDeg = 36000 - (radians * (180 * 0.31831) * 100);
	if (k == 60) {

		TrayOriginX = trayX.pos3;
		TrayOriginY = trayY.pos3;
		writeDeg = 27000 - (radians * (180 * 0.31831) * 100);
		radians -= (1.5 * M_PI);
	}
	testVar = writeDeg;
	float a[3] = { 10.0f, 30.0f, 50.0f };
	float b[3] = { 40.0f, 25.0f, 10.0f };

	for (int i = 0; i < 9; i++) {
		uint8_t index = i % 3;
		objPos[i].x = TrayOriginX + a[index];

		uint8_t row = i / 3;
		objPos[i].y = TrayOriginY + b[row];
		objPos[i] = rotatePoint(objPos[i].x, objPos[i].y, TrayOriginX,
				TrayOriginY, radians);
	}

	int16_t writeTrayOriginX = TrayOriginX * 10; // CHANGE DATA TYPE
	int16_t writeTrayOriginY = TrayOriginY * 10; // CHANGE DATA TYPE
	if (calibrateTrayInput == 1) {
		registerFrame[32].U16 = writeTrayOriginX; // WRTTE : Pick Tray Origin x
		registerFrame[33].U16 = writeTrayOriginY; // WRTTE : Pick Tray Origin y
		registerFrame[34].U16 = writeDeg; // WRTTE : Pick Tray Orientation
	} else if (calibrateTrayInput == 2) {
		registerFrame[35].U16 = writeTrayOriginX; //  WRTTE : Place Tray Origin x
		registerFrame[36].U16 = writeTrayOriginY; // WRTTE : Place Tray Origin y
		registerFrame[37].U16 = writeDeg; // WRTTE : Place Tray Orientation
	}

}

Point rotatePoint(int16_t p1, int16_t p2, int16_t centerX, int16_t centerY,
		float radians) {
	// ROTATION MATRIX
	float cosTheta = cosf(radians);
	float sinTheta = sinf(radians);

	int16_t translatedX = p1 - centerX;
	int16_t translatedY = p2 - centerY;

	Point rotatedPoint;
	rotatedPoint.x = (translatedX * cosTheta) - (translatedY * sinTheta)
			+ centerX;
	rotatedPoint.y = (translatedX * sinTheta) + (translatedY * cosTheta)
			+ centerY;

	return rotatedPoint;
}

void buttonInput() {
	register int i;
	for (i = 0; i < 4; i++) {
		Button1[i].Current = HAL_GPIO_ReadPin(joyPin[i].PORT, joyPin[i].PIN);
		if (Button1[i].Last == 0 && Button1[i].Current == 1) {
			if (i == 0) {
				countTopB += 1;
			}
			if (i == 1) {
				countRightB += 1;
			}
			if (i == 2) {
				countBottomB += 1;
			}
			if (i == 3) {
				countLeftB += 1;

			}
			Button1[i].Last = Button1[i].Current;
			joyLogic = i;
		}
		Button1[i].Last = Button1[i].Current;
	}
}

void buttonLogic(uint16_t state) {
	if (countTopB % 2 == 1) {
		switch (state) {
		case 0: // ENTER JOG MODE
			joyLogicLED = 1;
			if (switchAxis) {
				jogAxisY();
			} else {
				jogAxisX();
			}

			// handleJogAxisY(myJoyState);
			break;
		case 1: // RIGHT
			myJoyState += 1;

			joyLogic = 0;
			break;
		case 2: // CHANGE AXIS X/Y
			if (switchAxis) {
				switchAxis = 0;
			} else {
				switchAxis = 1;
			}
			joyLogic = 0;
			break;
		case 3: // LEFT
			joyLogic = 0;
			myJoyState -= 1;
			break;
		}
	}
	if (countTopB % 2 == 0) {
		switch (state) {
		case 0: // ENTER CALIBRATE MODE
			if (countRightB == 4) {
				joyLogicLED = 3;
			} else if (countRightB == 7) {
				joyLogicLED = 4;
			} else {
				joyLogicLED = 2;
			}

			break;
		case 1: // MARK POSITION
			if (countRightB == 2) {
				trayPickX.pos1 = ((int16_t) registerFrame[68].U16 / 10.0); // READ : x-axis Actual Position
				trayPickY.pos1 = mmActPos;
			} else if (countRightB == 3) {
				trayPickX.pos2 = ((int16_t) registerFrame[68].U16 / 10.0); // READ : x-axis Actual Position
				trayPickY.pos2 = mmActPos;
			} else if (countRightB == 4) {
				registerFrame[16].U16 = 0;
				trayPickX.pos3 = ((int16_t) registerFrame[68].U16 / 10.0); // READ : x-axis Actual Position
				trayPickY.pos3 = mmActPos;
				calibrateTrayInput = 1;
				calibrateTray(trayPickX, trayPickY, objPickPos);
			} else if (countRightB == 5) {
				trayPlaceX.pos1 = ((int16_t) registerFrame[68].U16 / 10.0); // READ : x-axis Actual Position
				trayPlaceY.pos1 = mmActPos;
			} else if (countRightB == 6) {
				trayPlaceX.pos2 = ((int16_t) registerFrame[68].U16 / 10.0); // READ : x-axis Actual Position
				trayPlaceY.pos2 = mmActPos;
			} else if (countRightB == 7) {
				trayPlaceX.pos3 = ((int16_t) registerFrame[68].U16 / 10.0); // READ : x-axis Actual Position
				trayPlaceY.pos3 = mmActPos;
				calibrateTrayInput = 2;
				calibrateTray(trayPlaceX, trayPlaceY, objPlacePos);
				registerFrame[16].U16 = 0;
			}
			joyLogic = 0;
			break;
		case 2: // OPEN LASER
			joyLogic = 0;

			break;
		case 3: //  DELETE
			countRightB = 0;
			joyLogic = 0;
			break;
		}
	}

}

void joyDisplayLED() {
	if (joyLogicLED == 1) {
		HAL_GPIO_WritePin(GPIOC, GPIO_PIN_10, GPIO_PIN_SET);
		HAL_GPIO_WritePin(GPIOC, GPIO_PIN_12, GPIO_PIN_RESET);
	} else if (joyLogicLED == 2) {
		HAL_GPIO_WritePin(GPIOC, GPIO_PIN_10, GPIO_PIN_RESET);
		HAL_GPIO_WritePin(GPIOC, GPIO_PIN_12, GPIO_PIN_SET);
	} else if (joyLogicLED == 3) {
		HAL_GPIO_TogglePin(GPIOC, GPIO_PIN_10);
		HAL_GPIO_WritePin(GPIOC, GPIO_PIN_12, GPIO_PIN_SET);
	} else if (joyLogicLED == 4) {
		HAL_GPIO_TogglePin(GPIOC, GPIO_PIN_10);
		HAL_GPIO_TogglePin(GPIOC, GPIO_PIN_12);
	}
}

void robotArmState(uint16_t state) {

	switch (state) {
	case 0b0000000000000001: // SET PICK TRAY
		registerFrame[16].U16 = 0b0000000000000001; // Jog Pick : y-axis Moving Status

		joyStart = 1;
		registerFrame[66].U16 = 300; // SET : x-axis Target Speed
		registerFrame[67].U16 = 3; // SET : x-axis Target Speed
		pilotLamp(0, 0); // OFF : PILOT LAMP LEFT
		pilotLamp(1, 1); // ON : PILOT LAMP CENTER
		pilotLamp(2, 0); // OFF : PILOT LAMP RIGHT

		break;
	case 0b0000000000000010: // SET PLACE TRAY
		registerFrame[16].U16 = 0b0000000000000010; // Jog Place : y-axis Moving Status

		joyStart = 1;
		registerFrame[66].U16 = 300; // SET : x-axis Target Speed
		registerFrame[67].U16 = 3; // SET : x-axis Target Speed
		pilotLamp(0, 0); // OFF : PILOT LAMP LEFT
		pilotLamp(1, 1); // ON : PILOT LAMP CENTER
		pilotLamp(2, 0);  // OFF : PILOT LAMP RIGHT

		break;
	case 0b0000000000000100: // HOME
		joyStart = 0;
		registerFrame[16].U16 = 0b0000000000000100; // HOME : y-axis Moving Status
		registerFrame[64].U16 = 0b0000000000000001; // HOME : x-axis Moving Status
		registerFrame[1].U16 = 0; // RESET : Base System Status

		startSetHome = 1; // START HOME -> Function

		pilotLamp(0, 1); // ON : PILOT LAMP LEFT
		pilotLamp(1, 0); // OFF : PILOT LAMP CENTER
		pilotLamp(2, 0); // OFF : PILOT LAMP RIGHT

		break;
	case 0b0000000000001000: // RUN TRAY MODE 18 PATH
		joyStart = 0;

		startRunTray = 1; // START RUN TRAY -> Function

		pilotLamp(0, 0); // OFF : PILOT LAMP LEFT
		pilotLamp(1, 0); // OFF : PILOT LAMP CENTER
		pilotLamp(2, 1); // ON : PILOT LAMP RIGHT
		break;
	case 0b0000000000010000: // RUN POINT MODE
		joyStart = 0;

		pilotLamp(0, 0); // OFF : PILOT LAMP LEFT
		pilotLamp(1, 0); // OFF : PILOT LAMP CENTER
		pilotLamp(2, 1); // ON : PILOT LAMP RIGHT

		// X-Axis
		registerFrame[64].U16 = 0b0000000000000010; // RUN : x-axis Moving Status
		registerFrame[65].U16 = registerFrame[48].U16; // SET : x-axis Target Position = Read : Goal Point x
		registerFrame[66].U16 = 3000; // SET : x-axis Target Speed
		registerFrame[67].U16 = 1; // SET : x-axis Target Speed

		// Y-Axis
		startPointModeY = 1; // START POINT MODE -> OnlyPositionControl Function
		initPosY = QEIReadModified * (2 * 3.14159 * 11.205 / 8192);

		registerFrame[16].U16 = 0b0000000000100000; // Go Point : y-axis Moving Status

		registerFrame[1].U16 = 0; // RESET: Base System Status

		break;
	}
}

void jogAxisX() {
	refXPos = buffer[0].subdata.xAxis;
	if (refXPos > 2500) {
		dirAxisX = 1;
		registerFrame[64].U16 = 0b0000000000000100; // JOG RIGHT : x-axis Moving Status
	} else if (refXPos < 1500) {
		dirAxisX = 0;
		registerFrame[64].U16 = 0b0000000000001000; // JOG LEFT : x-axis Moving Status
	} else {
		registerFrame[64].U16 = 0; // RESET : x-axis Moving Status

	}

}

void HAL_ADC_ConvCallback(ADC_HandleTypeDef *hadc) {

}

void handleEmergency() {
	if (HAL_GPIO_ReadPin(GPIOC, GPIO_PIN_5) == 0) {
		endTimeStatus2 = 1;
		endTimeStatus3 = 0;
		if (endTime2 == 5 && endEmergency == 0) {
			endTimeStatus2 = 0;
			endEmergency = 1;

			x[3] = 1;
			duty = 0;
			setMotor();
			startPointModeY=0;
			startRunTray=0;
			HAL_GPIO_WritePin(GPIOC, GPIO_PIN_8, 1);
			endEffectorControl(endEffector.emergencyMode, 0);
//			positionPID.eIntegral = 0;
//			positionPID.pTerm = 0;

		}

	} else {
		endTimeStatus2 = 0;
		if (endEmergency == 1) {
			endTimeStatus3 = 1;
			if (endEmergency == 1 && endTime3 == 5) {
				endTime2 = 0;
				endTimeStatus3 = 0;
				HAL_GPIO_WritePin(GPIOC, GPIO_PIN_8, 0);
				endEmergency = 0;
				endEffectorControl(endEffector.emergencyMode, 1);
			}
		}
	}
}
void pilotLamp(uint8_t id, uint8_t status) {
	HAL_GPIO_WritePin(pilotLampPin[id].PORT, pilotLampPin[id].PIN, status);

}

void endEffectorControl(uint8_t mode, uint8_t status) {
	switch (mode) {
	case 0: // LED ON-Off
		if (hi2c2.State == HAL_I2C_STATE_READY) {
			x[2] += 1;
			static uint8_t data[2][2] = { { 0x00 }, { 0x01 } };
			HAL_I2C_Mem_Write(&hi2c2, endEffector_ADDR << 1, 0x01,
			I2C_MEMADD_SIZE_8BIT, data[status], 1, 100);
//			HAL_I2C_Master_Transmit(&hi2c2, endEffector_ADDR << 1, data[status],
//					2, 100);
		}
		break;

	case 1: //  Emergency Mode
		if (hi2c2.State == HAL_I2C_STATE_READY) {
			if (status == 1) {
				static uint8_t data[3] = { 0x7A, 0xFF, 0x81 };
				HAL_I2C_Mem_Write(&hi2c2, endEffector_ADDR << 1, 0xE5,
				I2C_MEMADD_SIZE_8BIT, data, 3, 100);
			} else {
				static uint8_t data[1] = { 0xF0 };
				HAL_I2C_Mem_Write(&hi2c2, endEffector_ADDR << 1, 0xF0,
				I2C_MEMADD_SIZE_8BIT, data, 0, 100);
			}
		}
		break;

	case 2: // Gripper Working and Gripper Stops Working
		if (hi2c2.State == HAL_I2C_STATE_READY) {
			static uint8_t data[2][1] = { { 0x8C }, { 0x13 } };
			HAL_I2C_Mem_Write(&hi2c2, endEffector_ADDR << 1, 0x10,
			I2C_MEMADD_SIZE_8BIT, data[status], 1, 100);
		}
		break;

	case 3: // Gripper Pick Up and Gripper Place down
		if (hi2c2.State == HAL_I2C_STATE_READY) {
			static uint8_t data[2][1] = { { 0x69 }, { 0x5A } };
			HAL_I2C_Mem_Write(&hi2c2, endEffector_ADDR << 1, 0x10,
			I2C_MEMADD_SIZE_8BIT, data[status], 1, 100);
		}
		break;

	case 4: // Soft reset
		if (hi2c2.State == HAL_I2C_STATE_READY) {
			x[2] += 1;
			static uint8_t data[3] = { 0xFF, 0x55, 0xAA };
			HAL_I2C_Mem_Write(&hi2c2, endEffector_ADDR << 1, 0x00,
			I2C_MEMADD_SIZE_8BIT, data, 3, 100);
		}
		break;

	case 5: // Current status
		if (hi2c2.State == HAL_I2C_STATE_READY) {
			HAL_I2C_Master_Receive(&hi2c2, endEffector_ADDR << 1, readStatus, 1,
					100);
		}
		break;
	}
}

void endEffectorStatusControl(uint16_t regisFrame) // PUT REGISTOR
{
	switch (regisFrame) {
	case 0b0000000000000000: // LASER OFF
		switch (endEffectorStatusControlState) {
		case 0:
			endStateCheck = 1;
			endEffectorControl(endEffector.gripperWork, 0);
			endEffectorStatusControlState = 1;
			break;
		case 1:
			endEffectorControl(endEffector.testMode, 0);
			endEffectorStatusControlState = 0;
			endStateCheck = 0;
			break;
		}
		break;
	case 0b0000000000000001: // LASER ON
		switch (endEffectorStatusControlState) {
		case 0:
			endStateCheck = 1;
			endEffectorControl(endEffector.gripperWork, 0);
			endEffectorStatusControlState = 1;
			break;
		case 1:
			endEffectorControl(endEffector.testMode, 1);
			endEffectorStatusControlState = 0;
			endStateCheck = 0;
			break;
		}
		//endEffectorControl(endEffector.testMode, 1);
		break;
	case 0b0000000000000010: // GRIPPER POWER
		switch (endEffectorStatusControlState) {
		case 0:
			endEffectorControl(endEffector.testMode, 0);
			endEffectorStatusControlState = 1;
			endStateCheck = 1;
			break;
		case 1:
			endEffectorControl(endEffector.gripperWork, 1);
			endEffectorStatusControlState = 0;
			endStateCheck = 0;
			break;
		}
		break;
	case 0b0000000000000110: // GRIPPER PICK
		endEffectorControl(endEffector.gripperPickAndPlace, 1); // 1 -> PICK
		break;
	case 0b0000000000001010: // GRIPPER PLACE
		endEffectorControl(endEffector.gripperPickAndPlace, 0); // 1 -> PLACE
		break;
	}

}

// --------------------------------------------------
//float kalmanFilter(float y) {
//	P_pre = P + Q;
//	K = (P_pre * C) / ((C * P_pre * C) + R);
//	x = x + K * (y - C * x);
//	P = (1 - (K * C) * P_pre);
//	return x;
//}
//void kalmanLap() {
//	mmActPos = QEIReadRaw * (2 * 3.14159 * 11.205 / 8192);
//	mmActVel = (mmActPos - prePos) / 0.01;
//	setMotor();
//	prePos = mmActPos;
//}
/* USER CODE END 4 */

void Error_Handler(void)
{
	__disable_irq();
	while (1) {
	}
}
